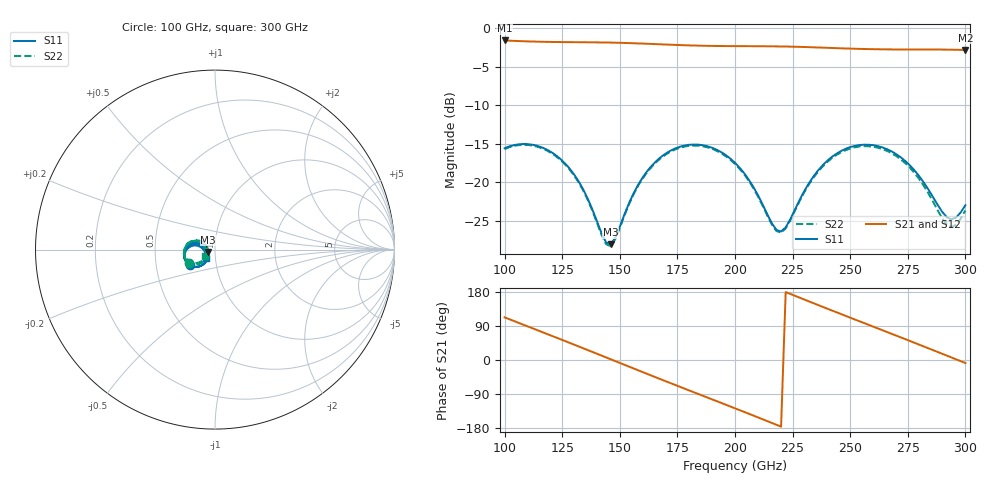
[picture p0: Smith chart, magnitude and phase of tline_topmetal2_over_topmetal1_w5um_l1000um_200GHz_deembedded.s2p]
! Created with skrf 2.0.1 (http://scikit-rf.org).
# GHz S DB R 50.0
!freq dBS11 angS11 dBS21 angS21 dBS12 angS12 dBS22 angS22
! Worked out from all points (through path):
!   101 points, 100 GHz to 300 GHz, reference 50 ohm
!   highest |S21| = -1.61 dB at 100 GHz (marker M1); lowest = -2.8 dB at 300 GHz (marker M2)
!   group delay of S21, straight-line fit = 6.68 ps
!   lowest |S11| = -28.0 dB at 146 GHz (marker M3), VSWR 1.08, Z = 46.4 - j1.19 ohm
!   |S11| at or under -10 dB: start of sweep to end of sweep
!   |S22| runs from -28.3 to -15.1 dB; largest |S21 - S12| = 4e-16
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100  -15.57 -148.2  -1.61 112.5  -1.61 112.5  -15.67 -152.6
108  -15.02 -164.0  -1.71 93.4  -1.71 93.4  -15.13 -168.8
116  -15.44 -179.3  -1.78 74.4  -1.78 74.4  -15.55 175.5
126  -17.47 163.5  -1.82 50.6  -1.82 50.6  -17.59 157.8
134  -20.84 155.0  -1.84 31.3  -1.84 31.3  -20.99 148.9
144  -27.74 -178.0  -1.88 7.0  -1.88 7.0  -27.98 175.7
146  -28.02 -161.2  -1.89 2.1  -1.89 2.1  -28.26 -167.3
158  -20.29 -126.8  -1.99 -27.2  -1.99 -27.2  -20.42 -133.4
168  -16.67 -139.2  -2.11 -51.4  -2.11 -51.4  -16.80 -146.3
184  -15.11 -166.9  -2.28 -89.5  -2.28 -89.5  -15.24 -174.9
200  -17.46 167.5  -2.34 -127.5  -2.34 -127.5  -17.61 158.7
210  -21.68 161.6  -2.36 -151.6  -2.36 -151.6  -21.83 152.4
216  -25.30 175.6  -2.37 -166.1  -2.37 -166.1  -25.46 166.2
220  -26.36 -160.7  -2.39 -175.9  -2.39 -175.9  -26.50 -170.3
234  -19.25 -129.6  -2.50 150.1  -2.50 150.1  -19.40 -140.2
244  -16.28 -141.4  -2.60 126.0  -2.60 126.0  -16.45 -152.6
252  -15.27 -154.0  -2.68 107.0  -2.68 107.0  -15.45 -165.7
268  -15.99 -179.5  -2.77 69.1  -2.77 69.1  -16.22 167.6
280  -19.21 168.0  -2.78 40.4  -2.78 40.4  -19.59 153.7
292  -24.52 -171.7  -2.80 11.4  -2.80 11.4  -25.48 174.6
296  -24.54 -152.2  -2.82 1.7  -2.82 1.7  -25.48 -163.5
300  -22.96 -137.9  -2.84 -8.0  -2.84 -8.0  -23.63 -148.2
